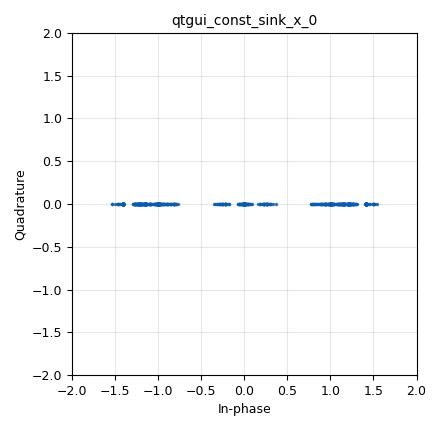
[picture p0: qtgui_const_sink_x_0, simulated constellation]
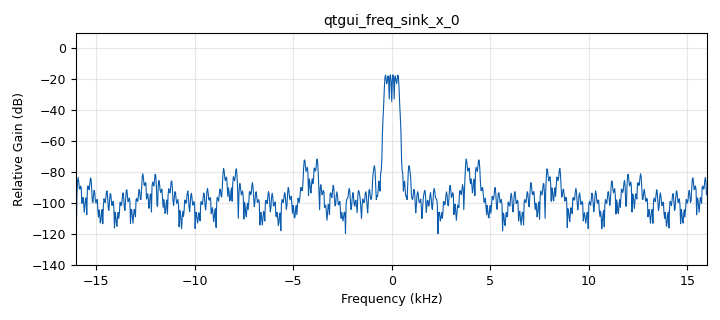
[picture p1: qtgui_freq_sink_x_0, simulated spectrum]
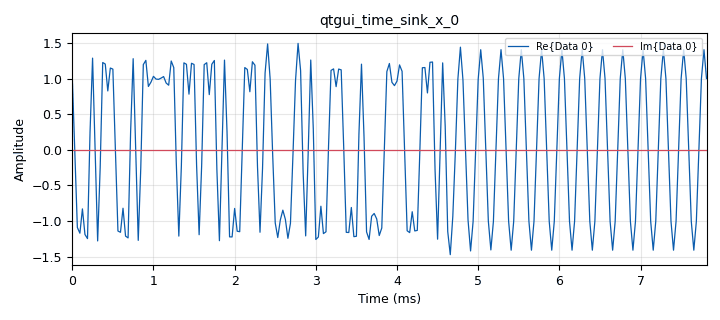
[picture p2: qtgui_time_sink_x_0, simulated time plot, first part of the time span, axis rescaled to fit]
options:
  parameters:
    author: ild27
    generate_options: qt_gui
    id: BPSKTx
    output_language: python
    title: bpsk tx
  states: {}

blocks:
- name: base_samp
  id: variable
  parameters:
    value: '768000'
  states: {}
- name: excess_bw
  id: variable
  parameters:
    value: '0.350'
  states: {}
- name: gain
  id: variable_qtgui_range
  parameters:
    label: gain
    orient: Qt.Horizontal
    start: '0'
    step: '5'
    stop: '100'
    value: '20'
  states: {}
- name: mod
  id: variable_constellation
  parameters:
    precision: '8'
    type: bpsk
  states: {}
- name: order
  id: variable
  parameters:
    value: '2'
  states: {}
- name: rs_ratio
  id: variable
  parameters:
    value: '1.04'
  states: {}
- name: samp_rate
  id: variable_qtgui_range
  parameters:
    label: samp_rate
    orient: Qt.Horizontal
    start: '32000'
    step: '4000'
    stop: '200000'
    value: '32000'
  states: {}
- name: sps
  id: variable
  parameters:
    value: '2'
  states: {}
- name: blocks_message_strobe_0
  id: blocks_message_strobe
  parameters:
    msg: pmt.cons(pmt.PMT_NIL,pmt.init_u8vector(12,[105,108,100,50,55,38,106,114,112,51,57,52]))
    period: '50'
  states: {}
- name: blocks_multiply_const_vxx_0
  id: blocks_multiply_const_vxx
  parameters:
    const: '1'
    type: complex
  states: {}
- name: blocks_pdu_to_tagged_stream_0
  id: blocks_pdu_to_tagged_stream
  parameters:
    tag: packet_len
    type: byte
  states: {}
- name: digital_constellation_modulator_0
  id: digital_constellation_modulator
  parameters:
    constellation: mod
    differential: 'True'
    excess_bw: '0.35'
    samples_per_symbol: '2'
  states: {}
- name: digital_crc32_async_bb_0
  id: digital_crc32_async_bb
  parameters:
    check: 'False'
  states: {}
- name: epy_block_1
  id: epy_block
  parameters:
    _source_code: "import numpy as np\nfrom gnuradio import gr\nimport pmt\nimport array\nclass blk(gr.sync_block):\n    \"\"\"Packet Format\"\"\"\n\n    def __init__(self):\n        gr.sync_block.__init__(self,\n            name = \"Packet Format GR38\",\n            in_sig = None,\n            out_sig = None)\n        self.message_port_register_in(pmt.intern('PDU_in'))\n        self.message_port_register_out(pmt.intern('PDU_out0'))\n        self.set_msg_handler(pmt.intern('PDU_in'), self.handle_msg)\n\n    def handle_msg(self, msg):\n        inMsg = pmt.to_python (msg)\n        pld = inMsg[1] ## type-> numpy.ndarray\n        mLen = len(pld)\n        if (mLen > 0):\n            ## create a numpy array of type 'int' with preamble and sync word\n            tmp_char_list = np.array([85,85,85,85,85,85,85,85,85,85,85,85,85,85,85,85,85,85,85,85,85,85,85,85,85,85,85,85,85,85,85,85,225,90,232,147],dtype=int)\n            ## append length 2x\n            tmp_char_list=np.append(tmp_char_list,(mLen >> 8))\n            tmp_char_list=np.append(tmp_char_list,(mLen & 255))\n            tmp_char_list=np.append(tmp_char_list,(mLen >> 8))\n            tmp_char_list=np.append(tmp_char_list,(mLen & 255))\n            tmp_char_list_len=len(tmp_char_list)\n            ## append original payload\n            new_char_list=np.insert(tmp_char_list,tmp_char_list_len,pld)\n            new_char_list_len=len(new_char_list)\n            ## save final numpy array as byte array (requires 'import array')\n            byte_array_new_char_list=array.array('B',new_char_list)\n            new_bytes_out_len = len(byte_array_new_char_list)\n            ## create PMT u8vector using byte array\n            new_out_bytes_pmt=pmt.cons(pmt.PMT_NIL,pmt.init_u8vector(new_bytes_out_len,(byte_array_new_char_list)))\n            self.message_port_pub(pmt.intern('PDU_out0'), new_out_bytes_pmt)\n\n"
  states: {}
- name: mmse_resampler_xx_0
  id: mmse_resampler_xx
  parameters:
    phase_shift: '0'
    resamp_ratio: 1/((base_samp/samp_rate)*rs_ratio)
    type: complex
  states: {}
- name: qtgui_const_sink_x_0
  id: qtgui_const_sink_x
  parameters:
    size: '1024'
    type: complex
  states: {}
- name: qtgui_freq_sink_x_0
  id: qtgui_freq_sink_x
  parameters:
    bw: samp_rate
    fc: '0'
    fftsize: '1024'
    type: complex
    wintype: firdes.WIN_BLACKMAN_hARRIS
  states: {}
- name: qtgui_time_sink_x_0
  id: qtgui_time_sink_x
  parameters:
    size: '1024'
    srate: samp_rate
    type: complex
  states: {}
- name: uhd_usrp_sink_0
  id: uhd_usrp_sink
  parameters:
    ant0: TX/RX
    bw0: '20000000'
    center_freq0: 1313e6
    dev_addr: addr=192.168.10.2
    dev_args: '""'
    gain0: gain
    len_tag_name: ''
    norm_gain0: 'False'
    samp_rate: samp_rate
    sync: sync
    type: fc32
  states: {}

connections:
- [blocks_message_strobe_0, strobe, digital_crc32_async_bb_0, in]
- [blocks_multiply_const_vxx_0, '0', mmse_resampler_xx_0, '0']
- [blocks_multiply_const_vxx_0, '0', qtgui_time_sink_x_0, '0']
- [blocks_pdu_to_tagged_stream_0, '0', digital_constellation_modulator_0, '0']
- [digital_constellation_modulator_0, '0', blocks_multiply_const_vxx_0, '0']
- [digital_constellation_modulator_0, '0', qtgui_const_sink_x_0, '0']
- [digital_crc32_async_bb_0, out, epy_block_1, PDU_in]
- [epy_block_1, PDU_out0, blocks_pdu_to_tagged_stream_0, pdus]
- [mmse_resampler_xx_0, '0', qtgui_freq_sink_x_0, '0']
- [mmse_resampler_xx_0, '0', uhd_usrp_sink_0, '0']

metadata:
  file_format: 1
